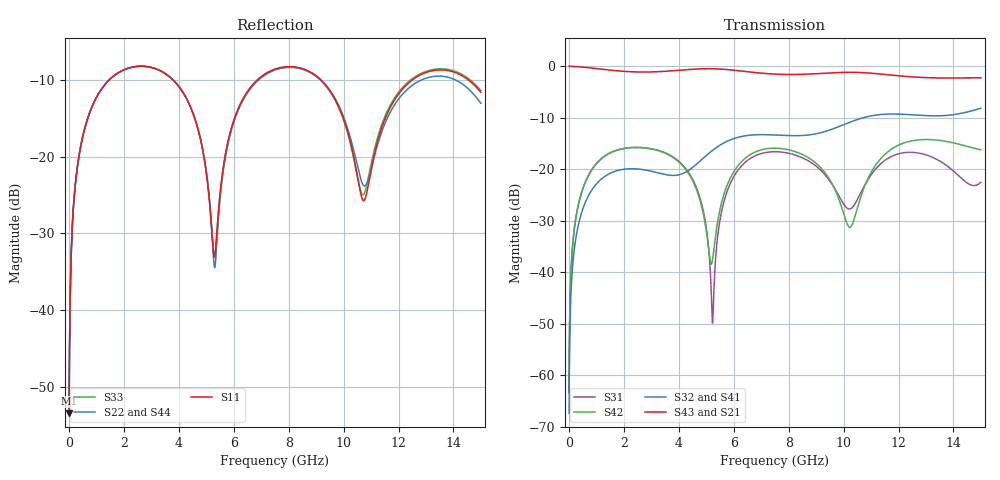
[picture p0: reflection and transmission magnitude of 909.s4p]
! Created with skrf 1.8.0 (http://scikit-rf.org).
# GHz S RI R 50.0
!freq ReS11 ImS11 ReS12 ImS12 ReS13 ImS13
! ReS14 ImS14
! ReS21 ImS21 ReS22 ImS22 ReS23 ImS23
! ReS24 ImS24
! ReS31 ImS31 ReS32 ImS32 ReS33 ImS33
! ReS34 ImS34
! ReS41 ImS41 ReS42 ImS42 ReS43 ImS43
! ReS44 ImS44
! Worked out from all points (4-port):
!   2499 points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, 5 MHz to 15 GHz, reference 50 ohm
!   strongest paths, dB at 5 MHz, 3.476 GHz, 7.19 GHz, 11.1 GHz, 15 GHz:
!     S43: 0.0, -1.0, -1.4, -1.4, -2.3
!     S21: 0.0, -1.0, -1.5, -1.4, -2.3
!     S32: -67.3, -21.0, -13.3, -9.6, -8.2
!     S41: -67.3, -21.0, -13.3, -9.5, -8.2
!     S42: -63.4, -16.8, -16.0, -19.8, -16.2
!     S31: -63.4, -16.8, -16.7, -20.4, -22.5
!   lowest |S11| = -53.5 dB at 5 MHz (marker M1), VSWR 1.00, Z = 50.2 + j0.129 ohm
!   |S11| at or under -10 dB: start of sweep to 1.452 GHz; 3.801 GHz to 6.845 GHz (3.044 GHz wide, 57.2 % of centre); 9.19 GHz to 12.49 GHz (3.298 GHz wide, 30.4 % of centre) (the widest 3 of 4)
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0.005  0.00169 0.00128  0.9983 -0.00328  8.5e-05 0.000674  -8.25e-05 -0.000422
       0.9983 -0.00328  0.00169 0.00128  -8.25e-05 -0.000422  8.5e-05 0.000674
       8.5e-05 0.000674  -8.25e-05 -0.000422  0.00169 0.00128  0.9983 -0.00328
       -8.25e-05 -0.000422  8.5e-05 0.000674  0.9983 -0.00328  0.00169 0.00128
0.3626511  0.0317 0.0957  0.9563 -0.2345  0.0153 0.0453  -0.0126 -0.0277
           0.9563 -0.2345  0.0317 0.0957  -0.0126 -0.0277  0.0152 0.0454
           0.0153 0.0453  -0.0126 -0.0277  0.0317 0.0957  0.9563 -0.2345
           -0.0126 -0.0277  0.0152 0.0454  0.9563 -0.2345  0.0317 0.0957
1.619545  0.2914 0.168  0.5001 -0.7563  0.1384 0.055  -0.0942 0.0024
          0.5001 -0.7563  0.2916 0.168  -0.0942 0.00249  0.1375 0.0565
          0.1384 0.055  -0.0942 0.00249  0.2914 0.1681  0.5001 -0.7563
          -0.0942 0.0024  0.1375 0.0565  0.5001 -0.7563  0.2917 0.168
5.227178  0.0228 -0.0164  -0.9346 -0.1215  -0.00318 0.000516  -0.0155 0.1515
          -0.9346 -0.1215  0.0199 -0.0194  -0.0144 0.1516  0.0129 0.00293
          -0.00318 0.000516  -0.0144 0.1516  0.023 -0.0177  -0.9345 -0.1217
          -0.0155 0.1515  0.0129 0.00293  -0.9345 -0.1217  0.0201 -0.0206
8.203418  0.386 -0.0261  -0.0162 0.8281  0.1112 -0.0822  0.2048 -0.0487
          -0.0162 0.8281  0.3823 -0.0152  0.205 -0.0513  0.1143 -0.0959
          0.1112 -0.0822  0.205 -0.0513  0.3832 -0.0242  -0.0155 0.8292
          0.2048 -0.0487  0.1143 -0.0959  -0.0155 0.8292  0.3801 -0.0177
11.0296  0.065 0.0571  0.851 -0.0508  0.0234 0.0872  -0.0326 -0.329
         0.851 -0.0508  0.0745 0.045  -0.038 -0.3278  0.0525 0.0802
         0.0234 0.0872  -0.038 -0.3278  0.0713 0.0622  0.8503 -0.0547
         -0.0326 -0.329  0.0525 0.0802  0.8503 -0.0547  0.0698 0.052
15  0.2294 -0.1307  -0.5083 -0.5803  -0.0748 0.0014  -0.3033 0.2469
    -0.5083 -0.5803  0.2076 -0.0833  -0.2974 0.2526  -0.1325 -0.0789
    -0.0748 0.0014  -0.2974 0.2526  0.2351 -0.1354  -0.5084 -0.5778
    -0.3033 0.2469  -0.1325 -0.0789  -0.5084 -0.5778  0.2102 -0.0881
